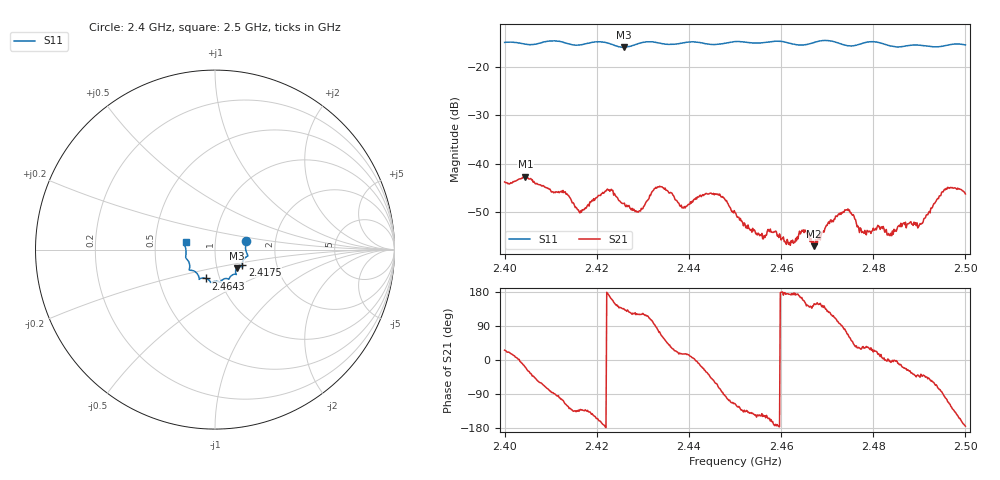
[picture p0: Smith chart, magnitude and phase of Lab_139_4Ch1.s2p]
# Hz S RI R 50
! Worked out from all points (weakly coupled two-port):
!   601 points, 2.4 GHz to 2.5 GHz, reference 50 ohm
!   highest |S21| = -42.72 dB at 2.4045 GHz (marker M1); lowest = -57.1 dB at 2.4672 GHz (marker M2)
!   lowest |S11| = -15.9 dB at 2.4258 GHz (marker M3), VSWR 1.38, Z = 62.3 - j13.2 ohm
!   |S11| at or under -10 dB: start of sweep to end of sweep
!   S12 and S22 are empty: the file has one direction only
!   S11 on the Smith chart (normalised r, x): 2.4 GHz: 1.41, +0.14; 2.4175 GHz: 1.34, -0.23; 2.4643 GHz: 0.86, -0.29; 2.5 GHz: 0.72, +0.06
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2.4e9  0.1731 0.0488  0.00579 0.00282  0 0  0 0
2.4045e9  0.1709 0.0198  0.00692 -0.00237  0 0  0 0
2.416667e9  0.1528 -0.074  -0.0021 -0.00232  0 0  0 0
2.4175e9  0.1519 -0.0836  -0.00229 -0.0026  0 0  0 0
2.422667e9  0.148 -0.0943  -0.00528 0.000883  0 0  0 0
2.425833e9  0.1217 -0.1033  -0.00276 0.0027  0 0  0 0
2.429167e9  0.1155 -0.1321  -0.00166 0.00276  0 0  0 0
2.433333e9  0.1134 -0.1371  0.00119 0.00563  0 0  0 0
2.438667e9  0.0807 -0.158  0.00337 0.000953  0 0  0 0
2.446167e9  0.0465 -0.1651  0.00202 -0.00431  0 0  0 0
2.45e9  0.029 -0.1809  -0.00132 -0.0028  0 0  0 0
2.456e9  -0.0064 -0.1779  -0.00143 -0.000856  0 0  0 0
2.4615e9  -0.0281 -0.1758  -0.00152 0.000134  0 0  0 0
2.464333e9  -0.0498 -0.1609  -0.00185 0.000519  0 0  0 0
2.466667e9  -0.0758 -0.1593  -0.00108 0.00102  0 0  0 0
2.467167e9  -0.08 -0.1606  -0.00118 0.000733  0 0  0 0
2.474333e9  -0.1001 -0.1328  0.00121 0.00306  0 0  0 0
2.478e9  -0.1354 -0.1153  0.00162 0.000975  0 0  0 0
2.483333e9  -0.1407 -0.09  0.00188 4.15e-05  0 0  0 0
2.490167e9  -0.1631 -0.0394  0.00168 -0.0017  0 0  0 0
2.495833e9  -0.1662 0.0182  -0.00114 -0.0054  0 0  0 0
2.5e9  -0.1639 0.0426  -0.00482 -0.000446  0 0  0 0
